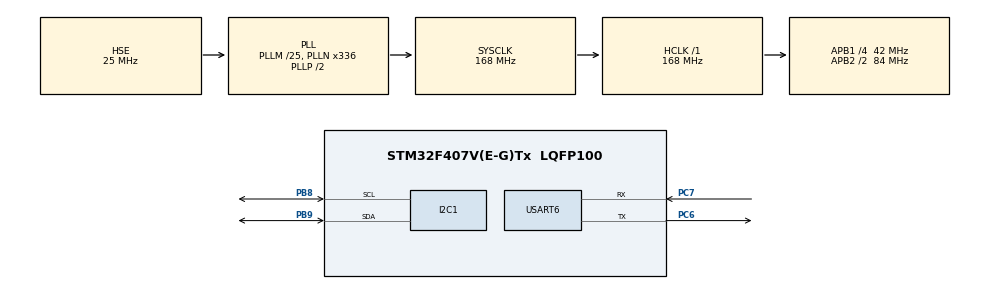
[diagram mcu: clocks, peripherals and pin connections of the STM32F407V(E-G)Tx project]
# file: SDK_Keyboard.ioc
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Mcu.Family=STM32F4
Mcu.Name=STM32F407V(E-G)Tx
Mcu.Package=LQFP100
NVIC.PriorityGroup=NVIC_PRIORITYGROUP_4
PA13.Mode=JTAG_5_pins
PA13.Signal=SYS_JTMS-SWDIO
PA14.Mode=JTAG_5_pins
PA14.Signal=SYS_JTCK-SWCLK
PA15.Mode=JTAG_5_pins
PA15.Signal=SYS_JTDI
PB3.Mode=JTAG_5_pins
PB3.Signal=SYS_JTDO-SWO
PB4.Mode=JTAG_5_pins
PB4.Signal=SYS_JTRST
PB8.GPIO_Pu=GPIO_PULLUP
PB8.Mode=I2C
PB8.Signal=I2C1_SCL
PB9.GPIO_Pu=GPIO_PULLUP
PB9.Mode=I2C
PB9.Signal=I2C1_SDA
PC6.Mode=Asynchronous
PC6.Signal=USART6_TX
PC7.Mode=Asynchronous
PC7.Signal=USART6_RX
PH0-OSC_IN.Mode=HSE-External-Oscillator
PH0-OSC_IN.Signal=RCC_OSC_IN
PH1-OSC_OUT.Mode=HSE-External-Oscillator
PH1-OSC_OUT.Signal=RCC_OSC_OUT
ProjectManager.HeapSize=0x200
ProjectManager.StackSize=0x400
ProjectManager.TargetToolchain=STM32CubeIDE
RCC.48MHZClocksFreq_Value=84000000
RCC.AHBFreq_Value=168000000
RCC.APB1CLKDivider=RCC_HCLK_DIV4
RCC.APB1Freq_Value=42000000
RCC.APB1TimFreq_Value=84000000
RCC.APB2CLKDivider=RCC_HCLK_DIV2
RCC.APB2Freq_Value=84000000
RCC.APB2TimFreq_Value=168000000
RCC.CortexFreq_Value=168000000
RCC.HCLKFreq_Value=168000000
RCC.HSE_VALUE=25000000
RCC.HSI_VALUE=16000000
RCC.LSE_VALUE=32768
RCC.PLLM=25
RCC.PLLN=336
RCC.PLLSourceVirtual=RCC_PLLSOURCE_HSE
RCC.SYSCLKFreq_VALUE=168000000
RCC.SYSCLKSource=RCC_SYSCLKSOURCE_PLLCLK
RCC.VCOOutputFreq_Value=336000000
USART6.VirtualMode=VM_ASYNC
board=custom

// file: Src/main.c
/* USER CODE BEGIN Header */
/**
  ******************************************************************************
  * @file           : main.c
  * @brief          : Main program body
  ******************************************************************************
  * @attention
  *
  * <h2><center>&copy; Copyright (c) 2019 STMicroelectronics.
  * All rights reserved.</center></h2>
  *
  * This software component is licensed by ST under BSD 3-Clause license,
  * the "License"; You may not use this file except in compliance with the
  * License. You may obtain a copy of the License at:
  *                        opensource.org/licenses/BSD-3-Clause
  *
  ******************************************************************************
  */
/* USER CODE END Header */
#include "main.h"
#include "i2c.h"
#include "usart.h"
#include "gpio.h"

/* USER CODE BEGIN Includes */
#include "hardware/oled_display_controller.h"
#include "keyboard.h"
#include "stopwatch.h"
/* USER CODE END Includes */

void SystemClock_Config(void);
/* USER CODE BEGIN PFP */
void KB_Test( void );
void OLED_KB( uint8_t OLED_Keys[]);
void oled_Reset( void );
/* USER CODE END PFP */

/* USER CODE BEGIN 0 */
static Stopwatch *sw;

static void updateTime();
static void resetStopwatch();
static void toggleStopwatch();
/* USER CODE END 0 */

int main(void)
{

  /* MCU Configuration--------------------------------------------------------*/

  /* Reset of all peripherals, Initializes the Flash interface and the Systick. */
  HAL_Init();

  /* Configure the system clock */
  SystemClock_Config();

  /* Initialize all configured peripherals */
  MX_GPIO_Init();
  MX_I2C1_Init();
  MX_USART6_UART_Init();
  /* USER CODE BEGIN 2 */
  	Oled.init();
  	sw = stopwatch.create();
  	Keyboard.init();
  	Keyboard.setKeyPressHandler(KEY_A, toggleStopwatch);
  	Keyboard.setKeyPressHandler(KEY_C, resetStopwatch);
  /* USER CODE END 2 */

  /* Infinite loop */
  /* USER CODE BEGIN WHILE */
  while (1)
  {
	  Keyboard.statePolling();
	  updateTime();
    /* USER CODE END WHILE */

  }
}

void SystemClock_Config(void)
{
  RCC_OscInitTypeDef RCC_OscInitStruct = {0};
  RCC_ClkInitTypeDef RCC_ClkInitStruct = {0};

  /** Configure the main internal regulator output voltage
  */
  __HAL_RCC_PWR_CLK_ENABLE();
  __HAL_PWR_VOLTAGESCALING_CONFIG(PWR_REGULATOR_VOLTAGE_SCALE1);

  /** Initializes the RCC Oscillators according to the specified parameters
  * in the RCC_OscInitTypeDef structure.
  */
  RCC_OscInitStruct.OscillatorType = RCC_OSCILLATORTYPE_HSE;
  RCC_OscInitStruct.HSEState = RCC_HSE_ON;
  RCC_OscInitStruct.PLL.PLLState = RCC_PLL_ON;
  RCC_OscInitStruct.PLL.PLLSource = RCC_PLLSOURCE_HSE;
  RCC_OscInitStruct.PLL.PLLM = 25;
  RCC_OscInitStruct.PLL.PLLN = 336;
  RCC_OscInitStruct.PLL.PLLP = RCC_PLLP_DIV2;
  RCC_OscInitStruct.PLL.PLLQ = 4;
  if (HAL_RCC_OscConfig(&RCC_OscInitStruct) != HAL_OK)
  {
    Error_Handler();
  }

  /** Initializes the CPU, AHB and APB buses clocks
  */
  RCC_ClkInitStruct.ClockType = RCC_CLOCKTYPE_HCLK|RCC_CLOCKTYPE_SYSCLK
                              |RCC_CLOCKTYPE_PCLK1|RCC_CLOCKTYPE_PCLK2;
  RCC_ClkInitStruct.SYSCLKSource = RCC_SYSCLKSOURCE_PLLCLK;
  RCC_ClkInitStruct.AHBCLKDivider = RCC_SYSCLK_DIV1;
  RCC_ClkInitStruct.APB1CLKDivider = RCC_HCLK_DIV4;
  RCC_ClkInitStruct.APB2CLKDivider = RCC_HCLK_DIV2;

  if (HAL_RCC_ClockConfig(&RCC_ClkInitStruct, FLASH_LATENCY_5) != HAL_OK)
  {
    Error_Handler();
  }
}

/* USER CODE BEGIN 4 */

static void updateTime() {
    Oled.setCursor(0, 0);
    char timeStr[16];
    const Time currentTime = stopwatch.getCurrentTime(sw);
    sprintf(timeStr, "%02d:%02d.%d", (int) currentTime.min, (int) currentTime.sec, (int) (currentTime.ms / 100));
    Oled.writeString(timeStr, OLED_COLOR_WHITE);
    Oled.updateScreen();
}

static void toggleStopwatch() {
    if (stopwatch.isEnabled(sw)) {
        stopwatch.pause(sw);
    } else {
        stopwatch.start(sw);
    }
}

static void resetStopwatch() {
    stopwatch.reset(sw);
    Oled.fill(OLED_COLOR_BLACK);
}
/* USER CODE END 4 */

void Error_Handler(void)
{
}
